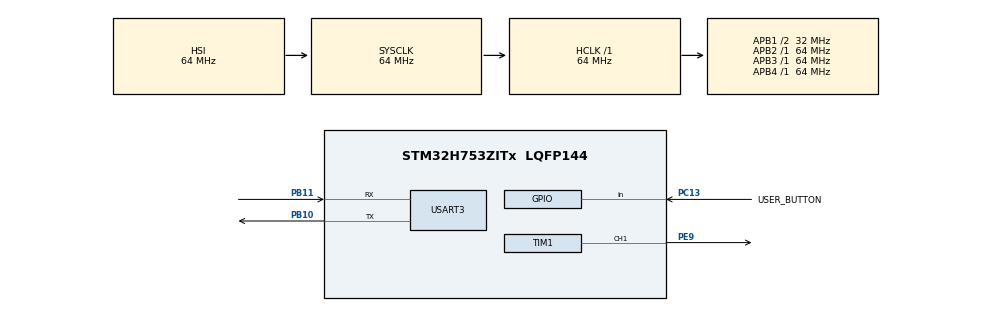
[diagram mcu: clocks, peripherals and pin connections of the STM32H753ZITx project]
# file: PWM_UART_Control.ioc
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CORTEX_M7.default_mode_Activation=1
Mcu.Family=STM32H7
Mcu.Name=STM32H753ZITx
Mcu.Package=LQFP144
NVIC.PriorityGroup=NVIC_PRIORITYGROUP_4
NVIC.USART3_IRQn=true\:0\:0\:false\:false\:true\:true\:true\:true
PB10.Mode=Asynchronous
PB10.Signal=USART3_TX
PB11.Mode=Asynchronous
PB11.Signal=USART3_RX
PC13.GPIO_Label=USER_BUTTON
PC13.GPIO_PuPd=GPIO_PULLUP
PC13.Signal=GPIO_Input
PE9.Signal=S_TIM1_CH1
ProjectManager.HeapSize=0x200
ProjectManager.StackSize=0x400
ProjectManager.TargetToolchain=STM32CubeIDE
RCC.ADCFreq_Value=129000000
RCC.APB1Freq_Value=32000000
RCC.APB2Freq_Value=64000000
RCC.APB3Freq_Value=64000000
RCC.APB4Freq_Value=64000000
RCC.CortexFreq_Value=64000000
RCC.D2PPRE1=RCC_APB1_DIV2
RCC.HCLKFreq_Value=64000000
RCC.SYSCLKFreq_VALUE=64000000
RCC.USBFreq_Value=129000000
SH.S_TIM1_CH1.0=TIM1_CH1,PWM Generation1 CH1
TIM1.Channel-PWM\ Generation1\ CH1=TIM_CHANNEL_1
TIM1.Period=999
TIM1.Prescaler=79
USART3.VirtualMode-Asynchronous=VM_ASYNC
VP_MEMORYMAP_VS_MEMORYMAP.Mode=CurAppReg
VP_TIM1_VS_ClockSourceINT.Mode=Internal
board=custom

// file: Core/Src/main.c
/* USER CODE BEGIN Header */
/**
  ******************************************************************************
  * @file           : main.c
  * @brief          : Main program body
  ******************************************************************************
  * @attention
  *
  * Copyright (c) 2025 STMicroelectronics.
  * All rights reserved.
  *
  * This software is licensed under terms that can be found in the LICENSE file
  * in the root directory of this software component.
  * If no LICENSE file comes with this software, it is provided AS-IS.
  *
  ******************************************************************************
  */
/* USER CODE END Header */
#include "main.h"

/* USER CODE BEGIN Includes */
#include <string.h>
#include <stdio.h>
/* USER CODE END Includes */

/* USER CODE BEGIN PD */
#define UART_TIMEOUT 100
/* USER CODE END PD */

TIM_HandleTypeDef htim1;

UART_HandleTypeDef huart3;

/* USER CODE BEGIN PV */
uint8_t duty_cycle; // Variável global para armazenar o duty cycle atual
/* USER CODE END PV */

void SystemClock_Config(void);
static void MPU_Config(void);
static void MX_GPIO_Init(void);
static void MX_TIM1_Init(void);
static void MX_USART3_UART_Init(void);
/* USER CODE BEGIN PFP */
void show_menu(void);
void update_pwm(uint8_t duty);
void process_option(uint8_t option);
void ramp_pwm(void);
/* USER CODE END PFP */

int main(void)
{

  /* MPU Configuration--------------------------------------------------------*/
  MPU_Config();

  /* MCU Configuration--------------------------------------------------------*/

  /* Reset of all peripherals, Initializes the Flash interface and the Systick. */
  HAL_Init();

  /* Configure the system clock */
  SystemClock_Config();

  /* Initialize all configured peripherals */
  MX_GPIO_Init();
  MX_TIM1_Init();
  MX_USART3_UART_Init();
  /* USER CODE BEGIN 2 */
  // Inicia PWM
  HAL_TIM_PWM_Start(&htim1, TIM_CHANNEL_1);
  update_pwm(0);

  // Mostra menu inicial
  show_menu();

  // Variável para receber a opção do usuário
  uint8_t rx_data;

  /* USER CODE END 2 */

  /* Infinite loop */
  /* USER CODE BEGIN WHILE */
  while (1)
  {
	  // Espera por uma entrada do usuário via UART
	  if (HAL_UART_Receive(&huart3, &rx_data, 1, HAL_MAX_DELAY) == HAL_OK)
	  {
		  // Processa a opção recebida
		  process_option(rx_data);
		  // Mostra o menu novamente após a opção ser processada
		  show_menu();
	  }

	  // Verifica o botão do usuário para a opção 4
	  if (HAL_GPIO_ReadPin(USER_BUTTON_GPIO_Port, USER_BUTTON_Pin) == GPIO_PIN_RESET) // Botão pressionado (pull-up, então LOW quando pressionado)
	  {
		  HAL_Delay(50); // Debounce
		  if (HAL_GPIO_ReadPin(USER_BUTTON_GPIO_Port, USER_BUTTON_Pin) == GPIO_PIN_RESET)
		  {
			  // Só incrementa o duty cycle se a opção 4 estiver "ativa"
			  if (duty_cycle < 100)
			  {
				  duty_cycle += 10;
				  if (duty_cycle > 100) duty_cycle = 100; // Garante que não excede 100
				  update_pwm(duty_cycle);
				  char msg[50];
				  sprintf(msg, "\r\nDuty Cycle: %d%%\r\n", duty_cycle);
				  HAL_UART_Transmit(&huart3, (uint8_t*)msg, strlen(msg), HAL_MAX_DELAY);
			  }
			  while(HAL_GPIO_ReadPin(USER_BUTTON_GPIO_Port, USER_BUTTON_Pin) == GPIO_PIN_RESET); // Espera o botão ser solto
		  }
	  }
    /* USER CODE END WHILE */

  }
}

void SystemClock_Config(void)
{
  RCC_OscInitTypeDef RCC_OscInitStruct = {0};
  RCC_ClkInitTypeDef RCC_ClkInitStruct = {0};

  /** Supply configuration update enable
  */
  HAL_PWREx_ConfigSupply(PWR_LDO_SUPPLY);

  /** Configure the main internal regulator output voltage
  */
  __HAL_PWR_VOLTAGESCALING_CONFIG(PWR_REGULATOR_VOLTAGE_SCALE3);

  while(!__HAL_PWR_GET_FLAG(PWR_FLAG_VOSRDY)) {}

  /** Initializes the RCC Oscillators according to the specified parameters
  * in the RCC_OscInitTypeDef structure.
  */
  RCC_OscInitStruct.OscillatorType = RCC_OSCILLATORTYPE_HSI;
  RCC_OscInitStruct.HSIState = RCC_HSI_DIV1;
  RCC_OscInitStruct.HSICalibrationValue = RCC_HSICALIBRATION_DEFAULT;
  RCC_OscInitStruct.PLL.PLLState = RCC_PLL_NONE;
  if (HAL_RCC_OscConfig(&RCC_OscInitStruct) != HAL_OK)
  {
    Error_Handler();
  }

  /** Initializes the CPU, AHB and APB buses clocks
  */
  RCC_ClkInitStruct.ClockType = RCC_CLOCKTYPE_HCLK|RCC_CLOCKTYPE_SYSCLK
                              |RCC_CLOCKTYPE_PCLK1|RCC_CLOCKTYPE_PCLK2
                              |RCC_CLOCKTYPE_D3PCLK1|RCC_CLOCKTYPE_D1PCLK1;
  RCC_ClkInitStruct.SYSCLKSource = RCC_SYSCLKSOURCE_HSI;
  RCC_ClkInitStruct.SYSCLKDivider = RCC_SYSCLK_DIV1;
  RCC_ClkInitStruct.AHBCLKDivider = RCC_HCLK_DIV1;
  RCC_ClkInitStruct.APB3CLKDivider = RCC_APB3_DIV1;
  RCC_ClkInitStruct.APB1CLKDivider = RCC_APB1_DIV2;
  RCC_ClkInitStruct.APB2CLKDivider = RCC_APB2_DIV1;
  RCC_ClkInitStruct.APB4CLKDivider = RCC_APB4_DIV1;

  if (HAL_RCC_ClockConfig(&RCC_ClkInitStruct, FLASH_LATENCY_1) != HAL_OK)
  {
    Error_Handler();
  }
}

static void MX_TIM1_Init(void)
{

  TIM_ClockConfigTypeDef sClockSourceConfig = {0};
  TIM_MasterConfigTypeDef sMasterConfig = {0};
  TIM_OC_InitTypeDef sConfigOC = {0};
  TIM_BreakDeadTimeConfigTypeDef sBreakDeadTimeConfig = {0};

  htim1.Instance = TIM1;
  htim1.Init.Prescaler = 79;
  htim1.Init.CounterMode = TIM_COUNTERMODE_UP;
  htim1.Init.Period = 999;
  htim1.Init.ClockDivision = TIM_CLOCKDIVISION_DIV1;
  htim1.Init.RepetitionCounter = 0;
  htim1.Init.AutoReloadPreload = TIM_AUTORELOAD_PRELOAD_DISABLE;
  if (HAL_TIM_Base_Init(&htim1) != HAL_OK)
  {
    Error_Handler();
  }
  sClockSourceConfig.ClockSource = TIM_CLOCKSOURCE_INTERNAL;
  if (HAL_TIM_ConfigClockSource(&htim1, &sClockSourceConfig) != HAL_OK)
  {
    Error_Handler();
  }
  if (HAL_TIM_PWM_Init(&htim1) != HAL_OK)
  {
    Error_Handler();
  }
  sMasterConfig.MasterOutputTrigger = TIM_TRGO_RESET;
  sMasterConfig.MasterOutputTrigger2 = TIM_TRGO2_RESET;
  sMasterConfig.MasterSlaveMode = TIM_MASTERSLAVEMODE_DISABLE;
  if (HAL_TIMEx_MasterConfigSynchronization(&htim1, &sMasterConfig) != HAL_OK)
  {
    Error_Handler();
  }
  sConfigOC.OCMode = TIM_OCMODE_PWM1;
  sConfigOC.Pulse = 0;
  sConfigOC.OCPolarity = TIM_OCPOLARITY_HIGH;
  sConfigOC.OCNPolarity = TIM_OCNPOLARITY_HIGH;
  sConfigOC.OCFastMode = TIM_OCFAST_DISABLE;
  sConfigOC.OCIdleState = TIM_OCIDLESTATE_RESET;
  sConfigOC.OCNIdleState = TIM_OCNIDLESTATE_RESET;
  if (HAL_TIM_PWM_ConfigChannel(&htim1, &sConfigOC, TIM_CHANNEL_1) != HAL_OK)
  {
    Error_Handler();
  }
  sBreakDeadTimeConfig.OffStateRunMode = TIM_OSSR_DISABLE;
  sBreakDeadTimeConfig.OffStateIDLEMode = TIM_OSSI_DISABLE;
  sBreakDeadTimeConfig.LockLevel = TIM_LOCKLEVEL_OFF;
  sBreakDeadTimeConfig.DeadTime = 0;
  sBreakDeadTimeConfig.BreakState = TIM_BREAK_DISABLE;
  sBreakDeadTimeConfig.BreakPolarity = TIM_BREAKPOLARITY_HIGH;
  sBreakDeadTimeConfig.BreakFilter = 0;
  sBreakDeadTimeConfig.Break2State = TIM_BREAK2_DISABLE;
  sBreakDeadTimeConfig.Break2Polarity = TIM_BREAK2POLARITY_HIGH;
  sBreakDeadTimeConfig.Break2Filter = 0;
  sBreakDeadTimeConfig.AutomaticOutput = TIM_AUTOMATICOUTPUT_DISABLE;
  if (HAL_TIMEx_ConfigBreakDeadTime(&htim1, &sBreakDeadTimeConfig) != HAL_OK)
  {
    Error_Handler();
  }
  HAL_TIM_MspPostInit(&htim1);

}

static void MX_USART3_UART_Init(void)
{

  /* USER CODE BEGIN USART3_Init 0 */
  // Configuração adicional dos pinos PB10 (TX) e PB11 (RX)
  __HAL_RCC_GPIOB_CLK_ENABLE();

  GPIO_InitTypeDef GPIO_InitStruct = {0};
  GPIO_InitStruct.Pin = GPIO_PIN_10|GPIO_PIN_11;
  GPIO_InitStruct.Mode = GPIO_MODE_AF_PP;
  GPIO_InitStruct.Pull = GPIO_NOPULL;
  GPIO_InitStruct.Speed = GPIO_SPEED_FREQ_HIGH;
  GPIO_InitStruct.Alternate = GPIO_AF7_USART3;
  HAL_GPIO_Init(GPIOB, &GPIO_InitStruct);
  /* USER CODE END USART3_Init 0 */

  huart3.Instance = USART3;
  huart3.Init.BaudRate = 115200;
  huart3.Init.WordLength = UART_WORDLENGTH_8B;
  huart3.Init.StopBits = UART_STOPBITS_1;
  huart3.Init.Parity = UART_PARITY_NONE;
  huart3.Init.Mode = UART_MODE_TX_RX;
  huart3.Init.HwFlowCtl = UART_HWCONTROL_NONE;
  huart3.Init.OverSampling = UART_OVERSAMPLING_16;
  huart3.Init.OneBitSampling = UART_ONE_BIT_SAMPLE_DISABLE;
  huart3.Init.ClockPrescaler = UART_PRESCALER_DIV1;
  huart3.AdvancedInit.AdvFeatureInit = UART_ADVFEATURE_NO_INIT;
  if (HAL_UART_Init(&huart3) != HAL_OK)
  {
    Error_Handler();
  }
  if (HAL_UARTEx_SetTxFifoThreshold(&huart3, UART_TXFIFO_THRESHOLD_1_8) != HAL_OK)
  {
    Error_Handler();
  }
  if (HAL_UARTEx_SetRxFifoThreshold(&huart3, UART_RXFIFO_THRESHOLD_1_8) != HAL_OK)
  {
    Error_Handler();
  }
  if (HAL_UARTEx_DisableFifoMode(&huart3) != HAL_OK)
  {
    Error_Handler();
  }

}

static void MX_GPIO_Init(void)
{
  GPIO_InitTypeDef GPIO_InitStruct = {0};

  /* GPIO Ports Clock Enable */
  __HAL_RCC_GPIOC_CLK_ENABLE();
  __HAL_RCC_GPIOE_CLK_ENABLE();
  __HAL_RCC_GPIOB_CLK_ENABLE();

  /*Configure GPIO pin : USER_BUTTON_Pin */
  GPIO_InitStruct.Pin = USER_BUTTON_Pin;
  GPIO_InitStruct.Mode = GPIO_MODE_INPUT;
  GPIO_InitStruct.Pull = GPIO_PULLUP;
  HAL_GPIO_Init(USER_BUTTON_GPIO_Port, &GPIO_InitStruct);

}

/* USER CODE BEGIN 4 */
void show_menu(void)
{
  char menu[] = "\r\n===== CONTROLE DE PWM =====\r\n"
                "[1] Duty fixo 20%\r\n"
                "[2] Duty fixo 80%\r\n"
                "[3] Ramp 0-100% em 5 s\r\n"
                "[4] +10% por clique no botao\r\n"
                "Selecione a opcao: ";

  HAL_UART_Transmit(&huart3, (uint8_t*)menu, strlen(menu), HAL_MAX_DELAY);
}

void update_pwm(uint8_t duty)
{
  // Garante que o duty está entre 0 e 100
  if(duty > 100) duty = 100;

  // Atualiza o valor do PWM
  __HAL_TIM_SET_COMPARE(&htim1, TIM_CHANNEL_1, (htim1.Init.Period * duty) / 100);
  duty_cycle = duty;
}

void process_option(uint8_t option)
{
  switch(option)
  {
    case '1':
      update_pwm(20);
      break;

    case '2':
      update_pwm(80);
      break;

    case '3':
      ramp_pwm();
      break;

    case '4':
      duty_cycle = 0; // Reseta o duty cycle para a opção do botão
      update_pwm(0);
      break;

    default:
      // Opção inválida
      char msg[] = "\r\nOpcao invalida!\r\n";
      HAL_UART_Transmit(&huart3, (uint8_t*)msg, strlen(msg), HAL_MAX_DELAY);
      break;
  }
}

void ramp_pwm(void)
{
  for(uint8_t i = 0; i <= 100; i++)
  {
    update_pwm(i);
    HAL_Delay(50); // 5000ms / 100 steps = 50ms por step
  }
}
/* USER CODE END 4 */

 /* MPU Configuration */

void MPU_Config(void)
{
  MPU_Region_InitTypeDef MPU_InitStruct = {0};

  /* Disables the MPU */
  HAL_MPU_Disable();

  /** Initializes and configures the Region and the memory to be protected
  */
  MPU_InitStruct.Enable = MPU_REGION_ENABLE;
  MPU_InitStruct.Number = MPU_REGION_NUMBER0;
  MPU_InitStruct.BaseAddress = 0x0;
  MPU_InitStruct.Size = MPU_REGION_SIZE_4GB;
  MPU_InitStruct.SubRegionDisable = 0x87;
  MPU_InitStruct.TypeExtField = MPU_TEX_LEVEL0;
  MPU_InitStruct.AccessPermission = MPU_REGION_NO_ACCESS;
  MPU_InitStruct.DisableExec = MPU_INSTRUCTION_ACCESS_DISABLE;
  MPU_InitStruct.IsShareable = MPU_ACCESS_SHAREABLE;
  MPU_InitStruct.IsCacheable = MPU_ACCESS_NOT_CACHEABLE;
  MPU_InitStruct.IsBufferable = MPU_ACCESS_NOT_BUFFERABLE;

  HAL_MPU_ConfigRegion(&MPU_InitStruct);
  /* Enables the MPU */
  HAL_MPU_Enable(MPU_PRIVILEGED_DEFAULT);

}

void Error_Handler(void)
{
  __disable_irq();
  while (1)
  {
  }
}
